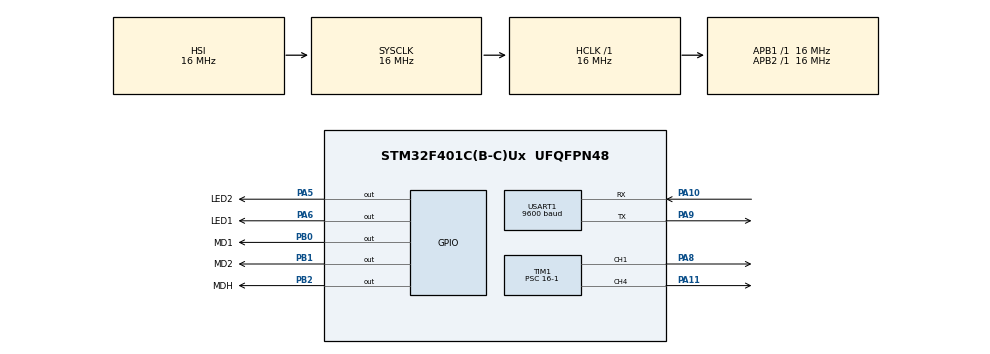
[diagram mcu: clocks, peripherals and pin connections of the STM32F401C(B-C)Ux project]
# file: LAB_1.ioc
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Mcu.Family=STM32F4
Mcu.Name=STM32F401C(B-C)Ux
Mcu.Package=UFQFPN48
NVIC.PriorityGroup=NVIC_PRIORITYGROUP_4
PA10.Mode=Asynchronous
PA10.Signal=USART1_RX
PA11.Signal=S_TIM1_CH4
PA5.GPIO_Label=LED2
PA5.Signal=GPIO_Output
PA6.GPIO_Label=LED1
PA6.Signal=GPIO_Output
PA8.Signal=S_TIM1_CH1
PA9.Mode=Asynchronous
PA9.Signal=USART1_TX
PB0.GPIO_Label=MD1
PB0.Signal=GPIO_Output
PB1.GPIO_Label=MD2
PB1.Signal=GPIO_Output
PB2.GPIO_Label=MDH
PB2.Signal=GPIO_Output
ProjectManager.HeapSize=0x200
ProjectManager.StackSize=0x400
ProjectManager.TargetToolchain=STM32CubeIDE
RCC.AHBFreq_Value=16000000
RCC.APB1Freq_Value=16000000
RCC.APB2Freq_Value=16000000
RCC.CortexFreq_Value=16000000
RCC.HSE_VALUE=25000000
RCC.HSI_VALUE=16000000
RCC.LSE_VALUE=32768
RCC.SYSCLKFreq_VALUE=16000000
RCC.VCOOutputFreq_Value=192000000
SH.S_TIM1_CH1.0=TIM1_CH1,PWM Generation1 CH1
SH.S_TIM1_CH4.0=TIM1_CH4,PWM Generation4 CH4
TIM1.AutoReloadPreload=TIM_AUTORELOAD_PRELOAD_ENABLE
TIM1.Channel-PWM\ Generation1\ CH1=TIM_CHANNEL_1
TIM1.Channel-PWM\ Generation4\ CH4=TIM_CHANNEL_4
TIM1.Period=20000
TIM1.Prescaler=16-1
USART1.BaudRate=9600
USART1.VirtualMode=VM_ASYNC
VP_TIM1_VS_ClockSourceINT.Mode=Internal
board=custom

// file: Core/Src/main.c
/* USER CODE BEGIN Header */
/**
 ******************************************************************************
 * @file           : main.c
 * @brief          : Main program body
 ******************************************************************************
 * @attention
 *
 * Copyright (c) 2024 STMicroelectronics.
 * All rights reserved.
 *
 * This software is licensed under terms that can be found in the LICENSE file
 * in the root directory of this software component.
 * If no LICENSE file comes with this software, it is provided AS-IS.
 *
 ******************************************************************************
 */
/* USER CODE END Header */
#include "main.h"

/* USER CODE BEGIN Includes */

#include "uart.h"
#include "stdio.h"
#include "stdint.h"
#include "stdlib.h"
#include "string.h"

/* USER CODE END Includes */

TIM_HandleTypeDef htim1;

UART_HandleTypeDef huart1;

/* USER CODE BEGIN PV */
char Trama_RX [50];
char captura [50];
uint16_t valor;
/* USER CODE END PV */

void SystemClock_Config(void);
static void MX_GPIO_Init(void);
static void MX_USART1_UART_Init(void);
static void MX_TIM1_Init(void);

/* USER CODE BEGIN 0 */
void adelante(){

	HAL_GPIO_WritePin(MD1_GPIO_Port,MD1_Pin,0);
	HAL_GPIO_WritePin(MD2_GPIO_Port,MD2_Pin,1);

	HAL_GPIO_WritePin(MDH_GPIO_Port,MDH_Pin,1);
}

void derecha(){
	HAL_GPIO_WritePin(MD1_GPIO_Port,MD1_Pin,1);
	HAL_GPIO_WritePin(MD2_GPIO_Port,MD2_Pin,0);

	HAL_GPIO_WritePin(MDH_GPIO_Port,MDH_Pin,1);
}
void izquierda(){
	HAL_GPIO_WritePin(MD1_GPIO_Port,MD1_Pin,0);
	HAL_GPIO_WritePin(MD2_GPIO_Port,MD2_Pin,1);

	HAL_GPIO_WritePin(MDH_GPIO_Port,MDH_Pin,1);
}

void reversa(){
	HAL_GPIO_WritePin(MD1_GPIO_Port,MD1_Pin,1);
	HAL_GPIO_WritePin(MD2_GPIO_Port,MD2_Pin,0);

	HAL_GPIO_WritePin(MDH_GPIO_Port,MDH_Pin,1);
}

void parar(){
	HAL_GPIO_WritePin(MD1_GPIO_Port,MD1_Pin,0);
	HAL_GPIO_WritePin(MD2_GPIO_Port,MD2_Pin,0);

	HAL_GPIO_WritePin(MDH_GPIO_Port,MDH_Pin,0);
}

void procesa_RX(){
	if (strstr(Trama_RX,"DER")) derecha(); //si la cadena contiene a la derecha, va a la derecha y así sucesivamente
	else if (strstr(Trama_RX,"IZQ")) izquierda(); //porque no se cumplen todas al tiempo
	else if (strstr(Trama_RX,"UP")) adelante();
	else if (strstr(Trama_RX,"DOWN")) reversa();
	else if (strstr(Trama_RX,"PAR")) parar();
	else if (strstr(Trama_RX, "LED")){
		if (strstr(Trama_RX,"1=")){
			if (strstr(Trama_RX,"ON")) HAL_GPIO_WritePin(LED1_GPIO_Port, LED1_Pin, 1);
			else if (strstr(Trama_RX,"OFF")) HAL_GPIO_WritePin(LED1_GPIO_Port, LED1_Pin, 0);
		}
		else if(strstr(Trama_RX,"2=")){
			if (strstr(Trama_RX,"ON")) HAL_GPIO_WritePin(LED2_GPIO_Port, LED2_Pin, 1);
			else if (strstr(Trama_RX,"OFF")) HAL_GPIO_WritePin(LED2_GPIO_Port, LED2_Pin, 0);

		}
	}
	else if (strstr(Trama_RX,"VEL1="))
					         	{
					         strcpy(captura, strtok(Trama_RX, "="));  //inicia captura de tokens
					          strcpy(captura, strtok(0, "*"));  //captura primer dato
					           valor=atoi(captura);
					          // sprintf(texto,"%.2f\r\n",valor);
					          //uartx_write_text(&huart1, texto);
					           TIM1->CCR1=valor;
					         	}
	else if (strstr(Trama_RX,"SERV="))
						         	{
						         strcpy(captura, strtok(Trama_RX, "="));  //inicia captura de tokens
						          strcpy(captura, strtok(0, "*"));  //captura primer dato
						           valor=atoi(captura);
						          // sprintf(texto,"%.2f\r\n",valor);
						          //uartx_write_text(&huart1, texto);
						           TIM1->CCR4=valor;
						         	}
}
/* USER CODE END 0 */

int main(void)
{

  /* MCU Configuration--------------------------------------------------------*/

  /* Reset of all peripherals, Initializes the Flash interface and the Systick. */
  HAL_Init();

  /* Configure the system clock */
  SystemClock_Config();

  /* Initialize all configured peripherals */
  MX_GPIO_Init();
  MX_USART1_UART_Init();
  MX_TIM1_Init();
  /* USER CODE BEGIN 2 */
HAL_TIM_PWM_Start(&htim1, TIM_CHANNEL_1);
HAL_TIM_PWM_Start(&htim1, TIM_CHANNEL_4);
//TIM1->CCR1=10000;
//TIM1->CCR4=1000;
  /* USER CODE END 2 */

  /* Infinite loop */
  /* USER CODE BEGIN WHILE */
	while (1)
	{
		/*
	  adelante();
	  HAL_Delay(1000);
	  derecha();
	  HAL_Delay(1000);
	  izquierda();
	  HAL_Delay(1000);
	  reversa();
	  HAL_Delay(1000);
	  parar();
	  HAL_Delay(1000);*/

		uartx_read_text(&huart1, Trama_RX, '*', 50);
		procesa_RX();

    /* USER CODE END WHILE */

	}
}

void SystemClock_Config(void)
{
  RCC_OscInitTypeDef RCC_OscInitStruct = {0};
  RCC_ClkInitTypeDef RCC_ClkInitStruct = {0};

  /** Configure the main internal regulator output voltage
  */
  __HAL_RCC_PWR_CLK_ENABLE();
  __HAL_PWR_VOLTAGESCALING_CONFIG(PWR_REGULATOR_VOLTAGE_SCALE2);

  /** Initializes the RCC Oscillators according to the specified parameters
  * in the RCC_OscInitTypeDef structure.
  */
  RCC_OscInitStruct.OscillatorType = RCC_OSCILLATORTYPE_HSI;
  RCC_OscInitStruct.HSIState = RCC_HSI_ON;
  RCC_OscInitStruct.HSICalibrationValue = RCC_HSICALIBRATION_DEFAULT;
  RCC_OscInitStruct.PLL.PLLState = RCC_PLL_NONE;
  if (HAL_RCC_OscConfig(&RCC_OscInitStruct) != HAL_OK)
  {
    Error_Handler();
  }

  /** Initializes the CPU, AHB and APB buses clocks
  */
  RCC_ClkInitStruct.ClockType = RCC_CLOCKTYPE_HCLK|RCC_CLOCKTYPE_SYSCLK
                              |RCC_CLOCKTYPE_PCLK1|RCC_CLOCKTYPE_PCLK2;
  RCC_ClkInitStruct.SYSCLKSource = RCC_SYSCLKSOURCE_HSI;
  RCC_ClkInitStruct.AHBCLKDivider = RCC_SYSCLK_DIV1;
  RCC_ClkInitStruct.APB1CLKDivider = RCC_HCLK_DIV1;
  RCC_ClkInitStruct.APB2CLKDivider = RCC_HCLK_DIV1;

  if (HAL_RCC_ClockConfig(&RCC_ClkInitStruct, FLASH_LATENCY_0) != HAL_OK)
  {
    Error_Handler();
  }
}

static void MX_TIM1_Init(void)
{

  TIM_ClockConfigTypeDef sClockSourceConfig = {0};
  TIM_MasterConfigTypeDef sMasterConfig = {0};
  TIM_OC_InitTypeDef sConfigOC = {0};
  TIM_BreakDeadTimeConfigTypeDef sBreakDeadTimeConfig = {0};

  htim1.Instance = TIM1;
  htim1.Init.Prescaler = 16-1;
  htim1.Init.CounterMode = TIM_COUNTERMODE_UP;
  htim1.Init.Period = 20000;
  htim1.Init.ClockDivision = TIM_CLOCKDIVISION_DIV1;
  htim1.Init.RepetitionCounter = 0;
  htim1.Init.AutoReloadPreload = TIM_AUTORELOAD_PRELOAD_ENABLE;
  if (HAL_TIM_Base_Init(&htim1) != HAL_OK)
  {
    Error_Handler();
  }
  sClockSourceConfig.ClockSource = TIM_CLOCKSOURCE_INTERNAL;
  if (HAL_TIM_ConfigClockSource(&htim1, &sClockSourceConfig) != HAL_OK)
  {
    Error_Handler();
  }
  if (HAL_TIM_PWM_Init(&htim1) != HAL_OK)
  {
    Error_Handler();
  }
  sMasterConfig.MasterOutputTrigger = TIM_TRGO_RESET;
  sMasterConfig.MasterSlaveMode = TIM_MASTERSLAVEMODE_DISABLE;
  if (HAL_TIMEx_MasterConfigSynchronization(&htim1, &sMasterConfig) != HAL_OK)
  {
    Error_Handler();
  }
  sConfigOC.OCMode = TIM_OCMODE_PWM1;
  sConfigOC.Pulse = 0;
  sConfigOC.OCPolarity = TIM_OCPOLARITY_HIGH;
  sConfigOC.OCNPolarity = TIM_OCNPOLARITY_HIGH;
  sConfigOC.OCFastMode = TIM_OCFAST_DISABLE;
  sConfigOC.OCIdleState = TIM_OCIDLESTATE_RESET;
  sConfigOC.OCNIdleState = TIM_OCNIDLESTATE_RESET;
  if (HAL_TIM_PWM_ConfigChannel(&htim1, &sConfigOC, TIM_CHANNEL_1) != HAL_OK)
  {
    Error_Handler();
  }
  if (HAL_TIM_PWM_ConfigChannel(&htim1, &sConfigOC, TIM_CHANNEL_4) != HAL_OK)
  {
    Error_Handler();
  }
  sBreakDeadTimeConfig.OffStateRunMode = TIM_OSSR_DISABLE;
  sBreakDeadTimeConfig.OffStateIDLEMode = TIM_OSSI_DISABLE;
  sBreakDeadTimeConfig.LockLevel = TIM_LOCKLEVEL_OFF;
  sBreakDeadTimeConfig.DeadTime = 0;
  sBreakDeadTimeConfig.BreakState = TIM_BREAK_DISABLE;
  sBreakDeadTimeConfig.BreakPolarity = TIM_BREAKPOLARITY_HIGH;
  sBreakDeadTimeConfig.AutomaticOutput = TIM_AUTOMATICOUTPUT_DISABLE;
  if (HAL_TIMEx_ConfigBreakDeadTime(&htim1, &sBreakDeadTimeConfig) != HAL_OK)
  {
    Error_Handler();
  }
  HAL_TIM_MspPostInit(&htim1);

}

static void MX_USART1_UART_Init(void)
{

  huart1.Instance = USART1;
  huart1.Init.BaudRate = 9600;
  huart1.Init.WordLength = UART_WORDLENGTH_8B;
  huart1.Init.StopBits = UART_STOPBITS_1;
  huart1.Init.Parity = UART_PARITY_NONE;
  huart1.Init.Mode = UART_MODE_TX_RX;
  huart1.Init.HwFlowCtl = UART_HWCONTROL_NONE;
  huart1.Init.OverSampling = UART_OVERSAMPLING_16;
  if (HAL_UART_Init(&huart1) != HAL_OK)
  {
    Error_Handler();
  }

}

static void MX_GPIO_Init(void)
{
  GPIO_InitTypeDef GPIO_InitStruct = {0};

  /* GPIO Ports Clock Enable */
  __HAL_RCC_GPIOA_CLK_ENABLE();
  __HAL_RCC_GPIOB_CLK_ENABLE();

  /*Configure GPIO pin Output Level */
  HAL_GPIO_WritePin(GPIOA, LED2_Pin|LED1_Pin, GPIO_PIN_RESET);

  /*Configure GPIO pin Output Level */
  HAL_GPIO_WritePin(GPIOB, MD1_Pin|MD2_Pin|MDH_Pin, GPIO_PIN_RESET);

  /*Configure GPIO pins : LED2_Pin LED1_Pin */
  GPIO_InitStruct.Pin = LED2_Pin|LED1_Pin;
  GPIO_InitStruct.Mode = GPIO_MODE_OUTPUT_PP;
  GPIO_InitStruct.Pull = GPIO_NOPULL;
  GPIO_InitStruct.Speed = GPIO_SPEED_FREQ_LOW;
  HAL_GPIO_Init(GPIOA, &GPIO_InitStruct);

  /*Configure GPIO pins : MD1_Pin MD2_Pin MDH_Pin */
  GPIO_InitStruct.Pin = MD1_Pin|MD2_Pin|MDH_Pin;
  GPIO_InitStruct.Mode = GPIO_MODE_OUTPUT_PP;
  GPIO_InitStruct.Pull = GPIO_NOPULL;
  GPIO_InitStruct.Speed = GPIO_SPEED_FREQ_LOW;
  HAL_GPIO_Init(GPIOB, &GPIO_InitStruct);

}

void Error_Handler(void)
{
	__disable_irq();
	while (1)
	{
	}
}
